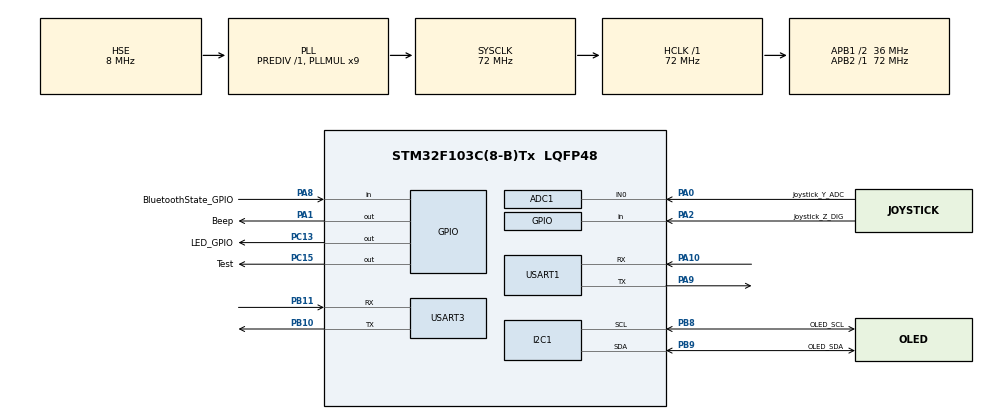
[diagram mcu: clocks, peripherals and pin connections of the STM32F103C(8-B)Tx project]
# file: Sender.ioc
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ADC1.Channel-0\#ChannelRegularConversion=ADC_CHANNEL_0
ADC1.Channel-2\#ChannelRegularConversion=ADC_CHANNEL_1
ADC1.ContinuousConvMode=ENABLE
ADC1.NbrOfConversion=2
ADC1.NbrOfConversionFlag=1
ADC1.Rank-0\#ChannelRegularConversion=1
ADC1.Rank-2\#ChannelRegularConversion=2
ADC1.SamplingTime-0\#ChannelRegularConversion=ADC_SAMPLETIME_71CYCLES_5
ADC1.SamplingTime-2\#ChannelRegularConversion=ADC_SAMPLETIME_71CYCLES_5
ADC1.master=1
Dma.ADC1.0.Direction=DMA_PERIPH_TO_MEMORY
Dma.ADC1.0.Instance=DMA1_Channel1
Dma.ADC1.0.MemDataAlignment=DMA_MDATAALIGN_WORD
Dma.ADC1.0.MemInc=DMA_MINC_ENABLE
Dma.ADC1.0.Mode=DMA_CIRCULAR
Dma.ADC1.0.PeriphDataAlignment=DMA_PDATAALIGN_WORD
Dma.ADC1.0.PeriphInc=DMA_PINC_DISABLE
Dma.ADC1.0.Priority=DMA_PRIORITY_LOW
Dma.Request0=ADC1
Mcu.Family=STM32F1
Mcu.Name=STM32F103C(8-B)Tx
Mcu.Package=LQFP48
NVIC.DMA1_Channel1_IRQn=true\:0\:0\:false\:false\:true\:true\:true\:true
NVIC.PriorityGroup=NVIC_PRIORITYGROUP_4
NVIC.USART3_IRQn=true\:0\:0\:false\:false\:true\:true\:true\:true
PA0-WKUP.GPIO_Label=Joystick_Y_ADC
PA0-WKUP.Signal=ADCx_IN0
PA1.GPIO_Label=Beep
PA1.Signal=GPIO_Output
PA10.Mode=Asynchronous
PA10.Signal=USART1_RX
PA13.Mode=Serial_Wire
PA13.Signal=SYS_JTMS-SWDIO
PA14.Mode=Serial_Wire
PA14.Signal=SYS_JTCK-SWCLK
PA2.GPIO_Label=Joystick_Z_DIG
PA2.GPIO_PuPd=GPIO_PULLUP
PA2.Signal=GPIO_Input
PA8.GPIO_Label=BluetoothState_GPIO
PA8.Signal=GPIO_Input
PA9.Mode=Asynchronous
PA9.Signal=USART1_TX
PB10.Mode=Asynchronous
PB10.Signal=USART3_TX
PB11.Mode=Asynchronous
PB11.Signal=USART3_RX
PB8.GPIO_Label=OLED_SCL
PB8.Mode=I2C
PB8.Signal=I2C1_SCL
PB9.GPIO_Label=OLED_SDA
PB9.Mode=I2C
PB9.Signal=I2C1_SDA
PC13-TAMPER-RTC.GPIO_Label=LED_GPIO
PC13-TAMPER-RTC.Signal=GPIO_Output
PC15-OSC32_OUT.GPIO_Label=Test
PC15-OSC32_OUT.Signal=GPIO_Output
PD0-OSC_IN.Mode=HSE-External-Oscillator
PD0-OSC_IN.Signal=RCC_OSC_IN
PD1-OSC_OUT.Mode=HSE-External-Oscillator
PD1-OSC_OUT.Signal=RCC_OSC_OUT
ProjectManager.HeapSize=0x200
ProjectManager.StackSize=0x400
ProjectManager.TargetToolchain=CMake
RCC.ADCPresc=RCC_ADCPCLK2_DIV6
RCC.AHBFreq_Value=72000000
RCC.APB1CLKDivider=RCC_HCLK_DIV2
RCC.APB1Freq_Value=36000000
RCC.APB1TimFreq_Value=72000000
RCC.APB2Freq_Value=72000000
RCC.APB2TimFreq_Value=72000000
RCC.HCLKFreq_Value=72000000
RCC.PLLMUL=RCC_PLL_MUL9
RCC.PLLSourceVirtual=RCC_PLLSOURCE_HSE
RCC.SYSCLKFreq_VALUE=72000000
RCC.SYSCLKSource=RCC_SYSCLKSOURCE_PLLCLK
RCC.USBFreq_Value=72000000
SH.ADCx_IN0.0=ADC1_IN0,IN0
USART1.VirtualMode=VM_ASYNC
USART3.VirtualMode=VM_ASYNC
board=custom

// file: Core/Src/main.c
/* USER CODE BEGIN Header */
/**
  ******************************************************************************
  * @file           : main.c
  * @brief          : Main program body
  ******************************************************************************
  * @attention
  *
  * Copyright (c) 2026 STMicroelectronics.
  * All rights reserved.
  *
  * This software is licensed under terms that can be found in the LICENSE file
  * in the root directory of this software component.
  * If no LICENSE file comes with this software, it is provided AS-IS.
  *
  ******************************************************************************
  */
/* USER CODE END Header */
#include "main.h"
#include "adc.h"
#include "dma.h"
#include "i2c.h"
#include "usart.h"
#include "gpio.h"

/* USER CODE BEGIN Includes */
#include <stdio.h>
#include <stdbool.h>
#include "oled.h"

/* USER CODE END Includes */

/* USER CODE BEGIN PV */
static bool beginBT = false;
static bool JOYSTICK_Z = false;
static bool button_current = false;
static bool button_last = true;
/* USER CODE END PV */

void SystemClock_Config(void);

/* USER CODE BEGIN 0 */

uint32_t joystick_values[2];
/* USER CODE END 0 */

int main(void)
{

  /* MCU Configuration--------------------------------------------------------*/

  /* Reset of all peripherals, Initializes the Flash interface and the Systick. */
  HAL_Init();

  /* Configure the system clock */
  SystemClock_Config();

  /* Initialize all configured peripherals */
  MX_GPIO_Init();
  MX_DMA_Init();
  MX_I2C1_Init();
  MX_ADC1_Init();
  MX_USART3_UART_Init();
  MX_USART1_UART_Init();
  /* USER CODE BEGIN 2 */

    HAL_GPIO_WritePin(GPIOC, Test_Pin, SET);
    HAL_GPIO_WritePin(GPIOA, Beep_Pin, SET);
    HAL_Delay(1000);
    HAL_GPIO_WritePin(GPIOC, Test_Pin, RESET);
    HAL_GPIO_WritePin(GPIOA, Beep_Pin, RESET);
    HAL_Delay(1000);
    HAL_GPIO_WritePin(GPIOC, Test_Pin, SET);
    HAL_GPIO_WritePin(GPIOA, Beep_Pin, SET);
    HAL_Delay(1000);
    HAL_GPIO_WritePin(GPIOC, Test_Pin, RESET);
    HAL_GPIO_WritePin(GPIOA, Beep_Pin, RESET);
    HAL_Delay(1000);
    OLED_Init();
    HAL_Delay(100);
    char oled_buffer[20];
    OLED_DisPlay_On();
    OLED_NewFrame();
    OLED_DrawImage(0, 5, &ScuImg, OLED_COLOR_NORMAL);
    HAL_Delay(1000);
    OLED_ShowFrame();

    HAL_ADCEx_Calibration_Start(&hadc1);
    HAL_ADC_Start_DMA(&hadc1, joystick_values, 2);
    uint8_t bluetooth_buf[9];
    bluetooth_buf[0] = 0x48;

  /* USER CODE END 2 */

  /* Infinite loop */
  /* USER CODE BEGIN WHILE */
  while (1)
  {
      OLED_NewFrame();

      HAL_UART_Transmit(&huart1, (uint8_t*)"hello world", 11, 0xFFFF);

    snprintf(oled_buffer, sizeof(oled_buffer), "%lu", joystick_values[0]);
    OLED_PrintASCIIString(66, 0, "Joy_y:", &afont8x6, OLED_COLOR_NORMAL);
    OLED_PrintASCIIString(102, 0, oled_buffer, &afont8x6, OLED_COLOR_NORMAL);
      snprintf(oled_buffer, sizeof(oled_buffer), "%lu", joystick_values[1]);
      OLED_PrintASCIIString(66, 10, "Joy_y:", &afont8x6, OLED_COLOR_NORMAL);
      OLED_PrintASCIIString(102, 10, oled_buffer, &afont8x6, OLED_COLOR_NORMAL);

      if (joystick_values[1] < 1024) {
          bluetooth_buf[1] = 0x42;
          OLED_PrintASCIIString(60, 24, "|", &afont8x6, OLED_COLOR_NORMAL);
          OLED_PrintASCIIString(60, 32, "|", &afont8x6, OLED_COLOR_NORMAL);
      } else if (joystick_values[1] > 4000) {
          bluetooth_buf[1] = 0x46;
          OLED_PrintASCIIString(60, 48, "|", &afont8x6, OLED_COLOR_NORMAL);
          OLED_PrintASCIIString(60, 56, "|", &afont8x6, OLED_COLOR_NORMAL);
      } else {
          bluetooth_buf[1] = 0xFF;
      }

      if (joystick_values[0] < 1024) {
          bluetooth_buf[2] = 0x52;
          OLED_PrintASCIIString(81, 40, "-", &afont8x6, OLED_COLOR_NORMAL);
          OLED_PrintASCIIString(89, 40, "-", &afont8x6, OLED_COLOR_NORMAL);
      } else if (joystick_values[0] > 4000) {
          bluetooth_buf[2] = 0x4C;
          OLED_PrintASCIIString(33, 40, "-", &afont8x6, OLED_COLOR_NORMAL);
          OLED_PrintASCIIString(41, 40, "-", &afont8x6, OLED_COLOR_NORMAL);
      } else {
          bluetooth_buf[2] = 0xFF;
      }

      if (HAL_GPIO_ReadPin(GPIOA, Joystick_Z_DIG_Pin) == GPIO_PIN_RESET) {
          JOYSTICK_Z = !JOYSTICK_Z;
          HAL_Delay(50);
          bluetooth_buf[3] = JOYSTICK_Z & 0xFF;
      }

      HAL_UART_Transmit(&huart3, (uint8_t*)bluetooth_buf, 4, 20);
      HAL_Delay(100);

      if (HAL_GPIO_ReadPin(GPIOA, BluetoothState_GPIO_Pin) == GPIO_PIN_SET) {
          HAL_GPIO_WritePin(GPIOC, LED_GPIO_Pin, RESET);
          OLED_PrintASCIIString(0, 0, "BT_ON", &afont8x6, OLED_COLOR_NORMAL);
      }
      else
      {
          HAL_GPIO_WritePin(GPIOC, LED_GPIO_Pin, SET);
          OLED_PrintASCIIString(0, 0, "BT_OFF", &afont8x6, OLED_COLOR_NORMAL);
      }

      if (JOYSTICK_Z) {
          OLED_PrintASCIIString(49, 40, "<- ->", &afont8x6, OLED_COLOR_NORMAL);
      }
      else {
          OLED_PrintASCIIString(49, 40, "( O )", &afont8x6, OLED_COLOR_NORMAL);
      }

      OLED_ShowFrame();
    /* USER CODE END WHILE */

  }
}

void SystemClock_Config(void)
{
  RCC_OscInitTypeDef RCC_OscInitStruct = {0};
  RCC_ClkInitTypeDef RCC_ClkInitStruct = {0};
  RCC_PeriphCLKInitTypeDef PeriphClkInit = {0};

  /** Initializes the RCC Oscillators according to the specified parameters
  * in the RCC_OscInitTypeDef structure.
  */
  RCC_OscInitStruct.OscillatorType = RCC_OSCILLATORTYPE_HSE;
  RCC_OscInitStruct.HSEState = RCC_HSE_ON;
  RCC_OscInitStruct.HSEPredivValue = RCC_HSE_PREDIV_DIV1;
  RCC_OscInitStruct.HSIState = RCC_HSI_ON;
  RCC_OscInitStruct.PLL.PLLState = RCC_PLL_ON;
  RCC_OscInitStruct.PLL.PLLSource = RCC_PLLSOURCE_HSE;
  RCC_OscInitStruct.PLL.PLLMUL = RCC_PLL_MUL9;
  if (HAL_RCC_OscConfig(&RCC_OscInitStruct) != HAL_OK)
  {
    Error_Handler();
  }

  /** Initializes the CPU, AHB and APB buses clocks
  */
  RCC_ClkInitStruct.ClockType = RCC_CLOCKTYPE_HCLK|RCC_CLOCKTYPE_SYSCLK
                              |RCC_CLOCKTYPE_PCLK1|RCC_CLOCKTYPE_PCLK2;
  RCC_ClkInitStruct.SYSCLKSource = RCC_SYSCLKSOURCE_PLLCLK;
  RCC_ClkInitStruct.AHBCLKDivider = RCC_SYSCLK_DIV1;
  RCC_ClkInitStruct.APB1CLKDivider = RCC_HCLK_DIV2;
  RCC_ClkInitStruct.APB2CLKDivider = RCC_HCLK_DIV1;

  if (HAL_RCC_ClockConfig(&RCC_ClkInitStruct, FLASH_LATENCY_2) != HAL_OK)
  {
    Error_Handler();
  }
  PeriphClkInit.PeriphClockSelection = RCC_PERIPHCLK_ADC;
  PeriphClkInit.AdcClockSelection = RCC_ADCPCLK2_DIV6;
  if (HAL_RCCEx_PeriphCLKConfig(&PeriphClkInit) != HAL_OK)
  {
    Error_Handler();
  }
}

void Error_Handler(void)
{
  __disable_irq();
  while (1)
  {
  }
}
